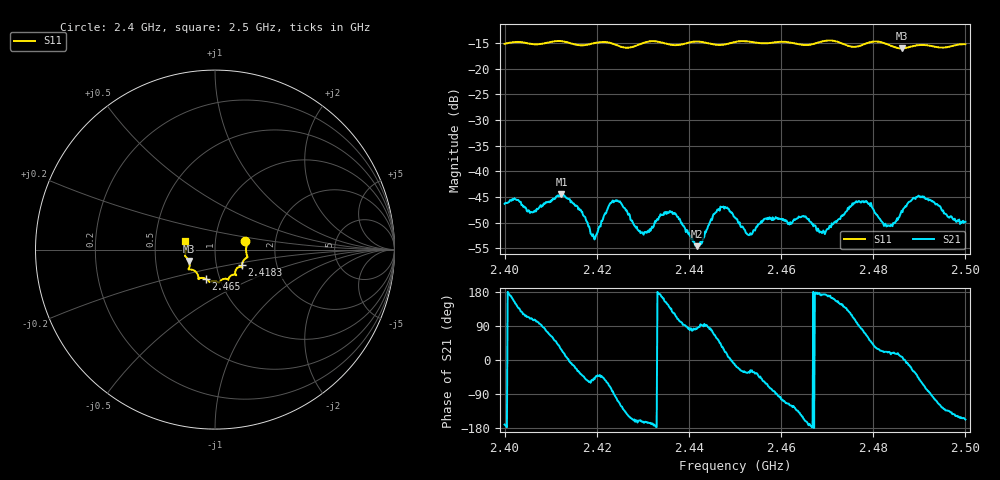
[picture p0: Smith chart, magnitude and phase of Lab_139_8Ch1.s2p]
# Hz S RI R 50
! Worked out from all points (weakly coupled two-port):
!   601 points, 2.4 GHz to 2.5 GHz, reference 50 ohm
!   highest |S21| = -44.51 dB at 2.4123 GHz (marker M1); lowest = -54.6 dB at 2.4418 GHz (marker M2)
!   lowest |S11| = -16.0 dB at 2.4862 GHz (marker M3), VSWR 1.38, Z = 37.1 - j4.82 ohm
!   |S11| at or under -10 dB: start of sweep to end of sweep
!   S12 and S22 are empty: the file has one direction only
!   S11 on the Smith chart (normalised r, x): 2.4 GHz: 1.40, +0.13; 2.4183 GHz: 1.33, -0.24; 2.465 GHz: 0.86, -0.29; 2.5 GHz: 0.71, +0.07
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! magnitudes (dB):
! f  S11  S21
! 2.4 GHz  -15.1  -46.3
! 2.406 GHz  -15.2  -48.0
! 2.4123 GHz  -14.6  -44.5
! 2.4167 GHz  -15.4  -47.9
! 2.4183 GHz  -15.2  -50.7
! 2.4198 GHz  -14.9  -52.4
! 2.424 GHz  -15.3  -45.8
! 2.4297 GHz  -15.1  -51.9
! 2.4333 GHz  -14.7  -49.4
! 2.4368 GHz  -15.4  -48.3
! 2.4418 GHz  -14.7  -54.6
! 2.4467 GHz  -15.4  -47.7
! 2.45 GHz  -14.8  -49.0
! 2.4532 GHz  -14.7  -52.4
! 2.465 GHz  -15.4  -48.9
! 2.4667 GHz  -15.2  -50.2
! 2.4693 GHz  -14.6  -51.8
! 2.478 GHz  -15.2  -46.1
! 2.4833 GHz  -15.3  -50.6
! 2.4862 GHz  -16.0  -47.7
! 2.4902 GHz  -15.4  -44.9
! 2.5 GHz  -15.2  -49.8
